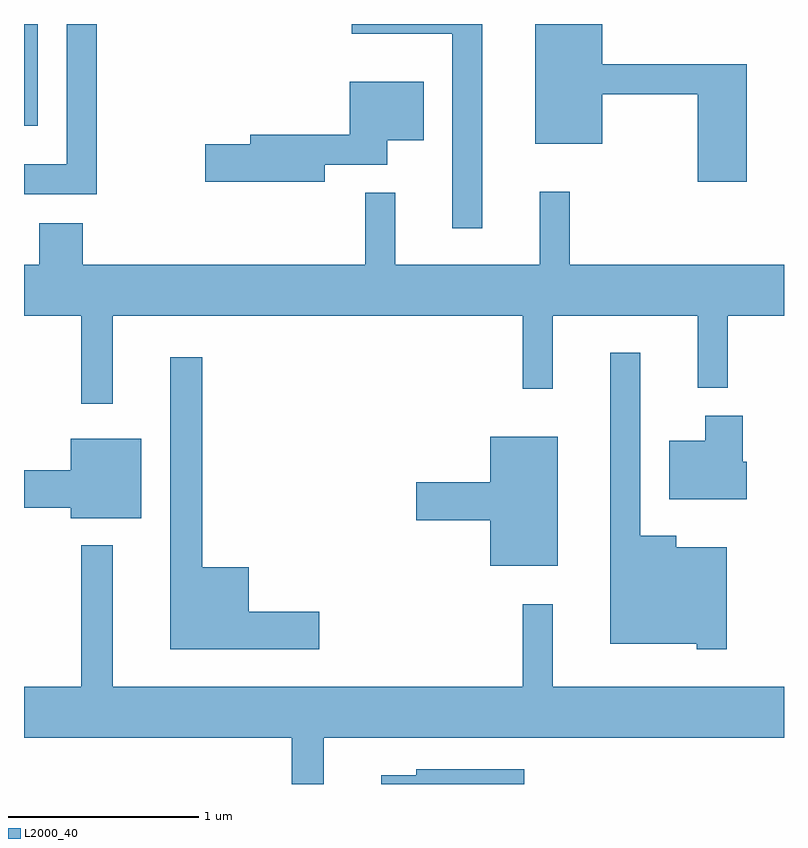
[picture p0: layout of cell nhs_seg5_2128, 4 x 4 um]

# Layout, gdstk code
import gdstk
lib = gdstk.Library(unit=1e-6, precision=1e-09)
def R(c, l, rs):  # rectangles x0, y0, x1, y1
    for r in rs: c.add(gdstk.rectangle(r[:2], r[2:], *l))
def P(c, l, *ps):  # polygons
    for p in ps: c.add(gdstk.Polygon(p, *l))
L2000_40 = (2000, 40)

nhs_seg5_2128 = lib.new_cell('nhs_seg5_2128')
R(nhs_seg5_2128, L2000_40, [(247.611,1495.536,247.684,1496.072)])
P(nhs_seg5_2128, L2000_40, [(247.994,1496.072),(247.836,1496.072),(247.836,1495.334),(247.611,1495.334),(247.611,1495.176),(247.994,1495.176)],
  [(250.024,1496.072),(249.336,1496.072),(249.336,1496.021),(249.866,1496.021),(249.866,1494.998),(250.024,1494.998)],
  [(251.414,1495.859),(250.654,1495.859),(250.654,1496.072),(250.301,1496.072),(250.301,1495.441),(250.654,1495.441),(250.654,1495.701),(251.156,1495.701),(251.156,1495.241),(251.414,1495.241)],
  [(249.194,1495.331),(249.524,1495.331),(249.524,1495.461),(249.714,1495.461),(249.714,1495.769),(249.326,1495.769),(249.326,1495.489),(248.801,1495.489),(248.801,1495.439),(248.566,1495.439),(248.566,1495.241),(249.194,1495.241)],
  [(248.079,1494.536),(250.236,1494.536),(250.236,1494.153),(250.394,1494.153),(250.394,1494.536),(251.156,1494.536),(251.156,1494.158),(251.314,1494.158),(251.314,1494.536),(251.611,1494.536),(251.611,1494.804),(250.484,1494.804),(250.484,1495.188),(250.326,1495.188),(250.326,1494.804),(249.564,1494.804),(249.564,1495.183),(249.406,1495.183),(249.406,1494.804),(247.919,1494.804),(247.919,1495.024),(247.691,1495.024),(247.691,1494.804),(247.611,1494.804),(247.611,1494.536),(247.911,1494.536),(247.911,1494.073),(248.079,1494.073)],
  [(251.309,1493.319),(251.044,1493.319),(251.044,1493.379),(250.854,1493.379),(250.854,1494.343),(250.696,1494.343),(250.696,1492.811),(251.151,1492.811),(251.151,1492.781),(251.309,1492.781)],
  [(249.164,1492.979),(248.794,1492.979),(248.794,1493.214),(248.549,1493.214),(248.549,1494.318),(248.381,1494.318),(248.381,1492.781),(249.164,1492.781)],
  [(251.414,1493.769),(251.394,1493.769),(251.394,1494.009),(251.196,1494.009),(251.196,1493.879),(251.006,1493.879),(251.006,1493.571),(251.414,1493.571)],
  [(250.419,1493.899),(250.066,1493.899),(250.066,1493.659),(249.676,1493.659),(249.676,1493.461),(250.066,1493.461),(250.066,1493.221),(250.419,1493.221)],
  [(248.229,1493.889),(247.856,1493.889),(247.856,1493.724),(247.611,1493.724),(247.611,1493.526),(247.856,1493.526),(247.856,1493.471),(248.229,1493.471)],
  [(249.189,1492.316),(251.611,1492.316),(251.611,1492.584),(250.394,1492.584),(250.394,1493.018),(250.236,1493.018),(250.236,1492.584),(248.079,1492.584),(248.079,1493.328),(247.911,1493.328),(247.911,1492.584),(247.611,1492.584),(247.611,1492.316),(249.021,1492.316),(249.021,1492.072),(249.189,1492.072)],
  [(250.244,1492.149),(249.676,1492.149),(249.676,1492.119),(249.491,1492.119),(249.491,1492.072),(250.244,1492.072)])

lib.write_gds('nhs_seg5_2128.gds')
